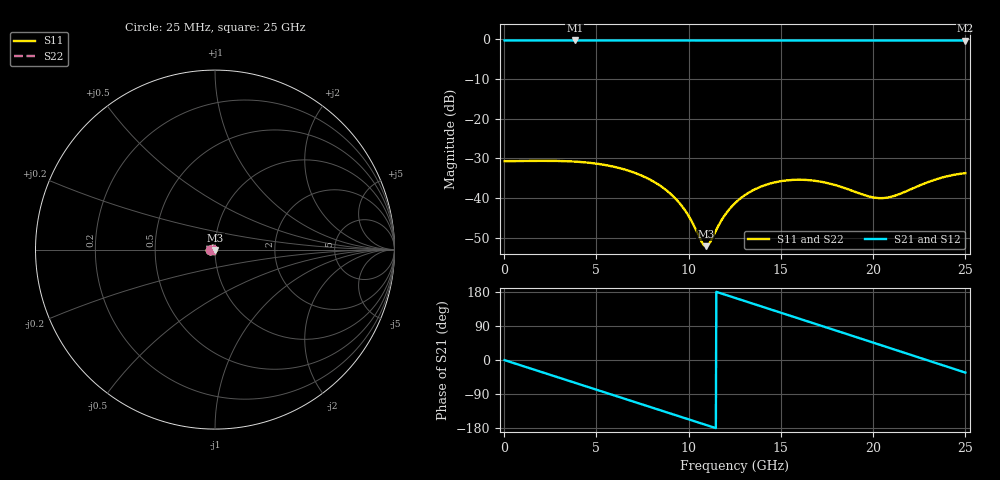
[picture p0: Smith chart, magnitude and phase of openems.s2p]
! thru_RG_ts6p_L1: 2×thru, L1, 8 mm
! stackup: ThunderScope Rev5.3 6-layer with the In2 plane
! ports: 1, 2
! openEMS 0.37.0, staircase, fine mesh (dfine 0.035 mm), 234900 cells
# Hz S RI R 50
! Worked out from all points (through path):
!   1000 points, 25 MHz to 25 GHz, reference 50 ohm
!   highest |S21| = -0.26 dB at 3.825 GHz (marker M1); lowest = -0.3 dB at 25 GHz (marker M2)
!   group delay of S21, straight-line fit = 43.7 ps
!   lowest |S11| = -52.1 dB at 10.93 GHz (marker M3), VSWR 1.00, Z = 50.2 - j0.143 ohm
!   |S11| at or under -10 dB: start of sweep to end of sweep
!   |S22| runs from -52.1 to -30.6 dB; largest |S21 - S12| = 0
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2.5e7  -0.0292 8.79e-05  0.9706 -0.00663  0.9706 -0.00663  -0.0292 8.79e-05
1.825e9  -0.0286 0.00696  0.8525 -0.4639  0.8525 -0.4639  -0.0286 0.00696
3.825e9  -0.0243 0.0155  0.4875 -0.8394  0.4875 -0.8394  -0.0243 0.0155
4.2e9  -0.0228 0.017  0.3991 -0.8848  0.3991 -0.8848  -0.0228 0.017
5.225e9  -0.0175 0.0202  0.1389 -0.9606  0.1389 -0.9606  -0.0175 0.0202
6.25e9  -0.0109 0.0212  -0.1321 -0.9615  -0.1321 -0.9615  -0.0109 0.0212
7.275e9  -0.00417 0.0196  -0.3929 -0.8874  -0.3929 -0.8874  -0.00417 0.0196
8.35e9  0.00156 0.0148  -0.6332 -0.7353  -0.6332 -0.7353  0.00156 0.0148
9.625e9  0.00446 0.00663  -0.8463 -0.4744  -0.8463 -0.4744  0.00446 0.00663
1.0925e10  0.00202 -0.00143  -0.9585 -0.1497  -0.9585 -0.1497  0.00202 -0.00143
1.2525e10  -0.00638 -0.0059  -0.9311 0.2714  -0.9311 0.2714  -0.00638 -0.0059
1.3525e10  -0.0119 -0.00425  -0.8228 0.5133  -0.8228 0.5133  -0.0119 -0.00425
1.4775e10  -0.0159 0.00178  -0.602 0.7601  -0.602 0.7601  -0.0159 0.00178
1.6675e10  -0.0113 0.0123  -0.1425 0.9589  -0.1425 0.9589  -0.0113 0.0123
1.7675e10  -0.00468 0.0144  0.1235 0.9615  0.1235 0.9615  -0.00468 0.0144
1.8675e10  0.00259 0.0126  0.3804 0.8915  0.3804 0.8915  0.00259 0.0126
1.9975e10  0.00914 0.00459  0.6689 0.7011  0.6689 0.7011  0.00914 0.00459
2.085e10  0.00985 -0.00273  0.817 0.5206  0.817 0.5206  0.00985 -0.00273
2.19e10  0.00608 -0.0109  0.9315 0.265  0.9315 0.265  0.00608 -0.0109
2.29e10  -0.00131 -0.0156  0.9681 0.000609  0.9681 0.000609  -0.00131 -0.0156
2.39e10  -0.0102 -0.0155  0.9311 -0.2639  0.9311 -0.2639  -0.0102 -0.0155
2.5e10  -0.0182 -0.00971  0.8087 -0.531  0.8087 -0.531  -0.0182 -0.00971
